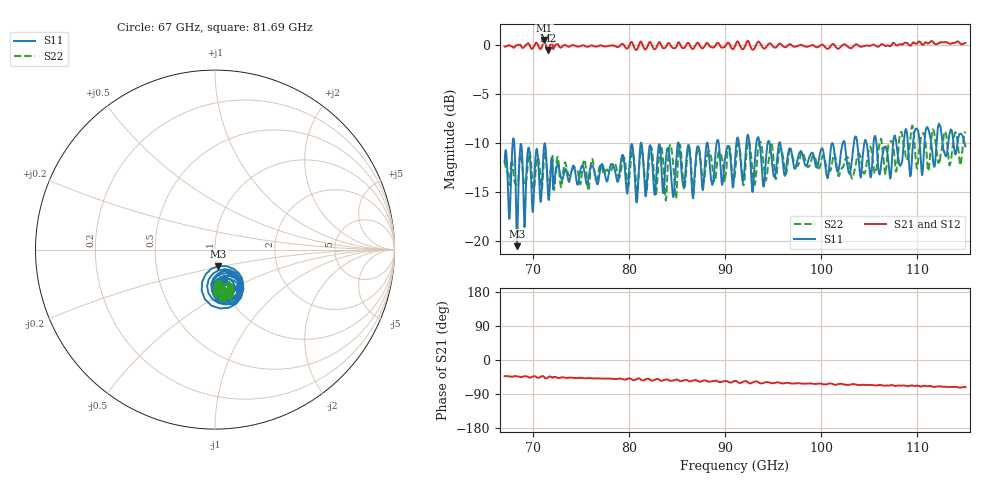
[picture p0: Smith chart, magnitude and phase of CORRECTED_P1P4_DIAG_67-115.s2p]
! Generated by Phase II Calibration
# Hz S RI R 50
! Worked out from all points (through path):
!   1001 points, 67 GHz to 115 GHz, reference 50 ohm
!   highest |S21| = 0.42 dB at 71.13 GHz (marker M1); lowest = -0.6 dB at 71.51 GHz (marker M2)
!   group delay of S21, straight-line fit = 1.69 ps
!   lowest |S11| = -20.5 dB at 68.3 GHz (marker M3), VSWR 1.21, Z = 51 - j9.47 ohm
!   |S11| at or under -10 dB: 68 GHz to 81.21 GHz (13.21 GHz wide, 17.7 % of centre); 81.21 GHz to 85.08 GHz (3.868 GHz wide, 4.65 % of centre); 95.69 GHz to 102.2 GHz (6.542 GHz wide, 6.61 % of centre)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
!   |S22| runs from -15.9 to -8.2 dB; largest |S21 - S12| = 0.013
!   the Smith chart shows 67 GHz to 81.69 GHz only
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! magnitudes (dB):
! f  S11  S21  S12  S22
! 67 GHz  -12.0  -0.2  -0.2  -11.8
! 67.48 GHz  -17.8  -0.1  -0.1  -14.3
! 67.91 GHz  -9.5  -0.3  -0.3  -13.1
! 68.3 GHz  -20.5  -0.1  -0.1  -14.3
! 68.68 GHz  -10.1  -0.1  -0.1  -11.1
! 69.11 GHz  -18.3  -0.2  -0.2  -14.3
! 71.13 GHz  -10.2  0.4  0.4  -11.3
! 71.51 GHz  -15.0  -0.6  -0.6  -14.2
! 75.02 GHz  -12.4  -0.1  -0.1  -13.5
! 79.77 GHz  -15.2  -0.4  -0.4  -13.8
! 80.25 GHz  -10.1  0.3  0.2  -11.0
! 80.78 GHz  -16.1  -0.5  -0.5  -14.9
! 81.21 GHz  -10.0  0.3  0.3  -10.8
! 83.03 GHz  -10.5  0.2  0.1  -12.1
! 84.57 GHz  -15.5  -0.4  -0.3  -12.2
! 85.1 GHz  -10.0  0.2  0.2  -10.9
! 86.63 GHz  -15.7  -0.4  -0.4  -14.9
! 87.16 GHz  -10.4  0.2  0.2  -10.5
! 91 GHz  -11.9  -0.2  -0.2  -13.2
! 99.02 GHz  -11.0  -0.1  -0.1  -11.5
! 107 GHz  -12.5  -0.1  -0.2  -10.0
! 115 GHz  -10.4  0.2  0.2  -8.9
